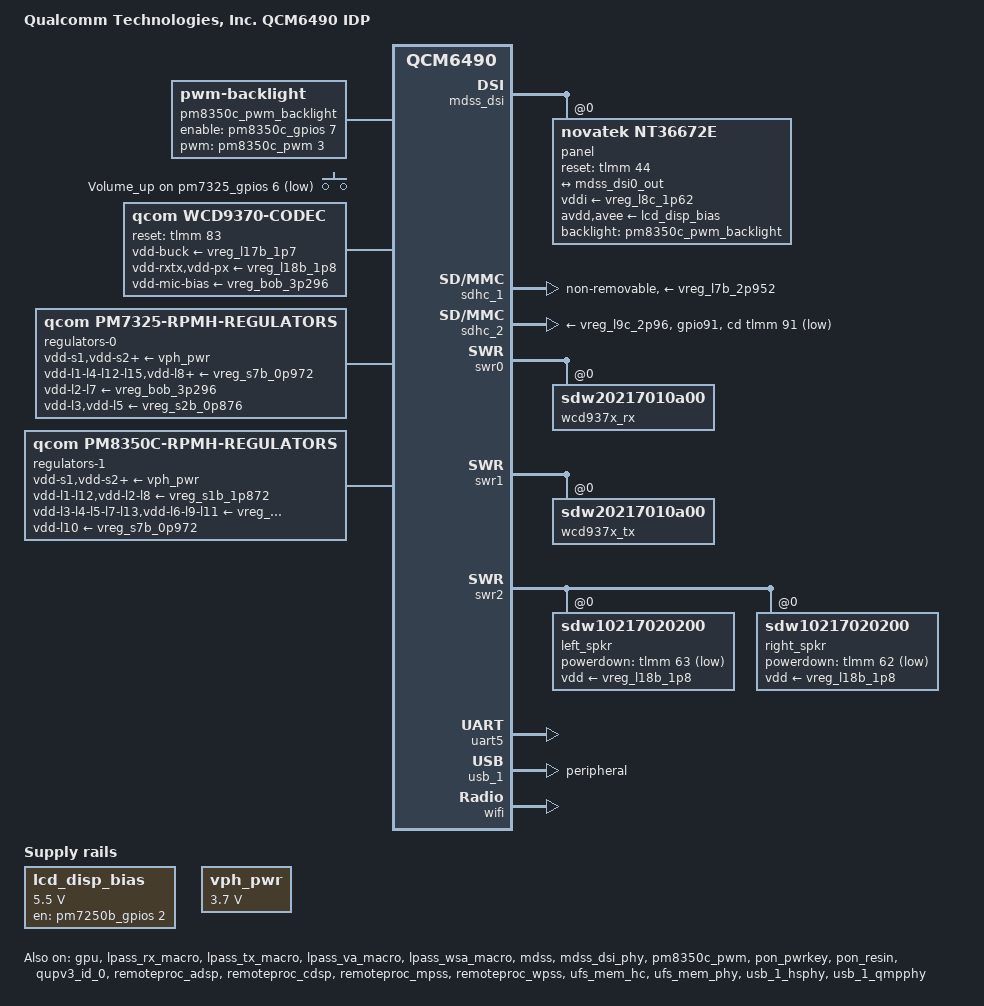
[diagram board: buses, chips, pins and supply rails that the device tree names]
// SPDX-License-Identifier: BSD-3-Clause
/*
 * Copyright (c) 2023 Qualcomm Innovation Center, Inc. All rights reserved.
 */

/dts-v1/;

/* PM7250B is configured to use SID8/9 */
#define PM7250B_SID 8
#define PM7250B_SID1 9

#include <dt-bindings/input/linux-event-codes.h>
#include <dt-bindings/leds/common.h>
#include <dt-bindings/pinctrl/qcom,pmic-gpio.h>
#include <dt-bindings/regulator/qcom,rpmh-regulator.h>
#include "sc7280.dtsi"
#include "pm7250b.dtsi"
#include "pm7325.dtsi"
#include "pm8350c.dtsi"
#include "pmk8350.dtsi"
#include "qcs6490-audioreach.dtsi"

/delete-node/ &ipa_fw_mem;
/delete-node/ &rmtfs_mem;
/delete-node/ &adsp_mem;
/delete-node/ &cdsp_mem;
/delete-node/ &video_mem;
/delete-node/ &wlan_ce_mem;
/delete-node/ &wpss_mem;
/delete-node/ &xbl_mem;

/ {
	model = "Qualcomm Technologies, Inc. QCM6490 IDP";
	compatible = "qcom,qcm6490-idp", "qcom,qcm6490";
	chassis-type = "embedded";

	aliases {
		serial0 = &uart5;
	};

	pm8350c_pwm_backlight: backlight {
		compatible = "pwm-backlight";
		pwms = <&pm8350c_pwm 3 65535>;
		enable-gpios = <&pm8350c_gpios 7 GPIO_ACTIVE_HIGH>;
		pinctrl-0 = <&pmic_lcd_bl_en>;
		pinctrl-names = "default";
	};

	chosen {
		stdout-path = "serial0:115200n8";
	};

	lcd_disp_bias: regulator-lcd-disp-bias {
		compatible = "regulator-fixed";
		regulator-name = "lcd_disp_bias";
		regulator-min-microvolt = <5500000>;
		regulator-max-microvolt = <5500000>;
		gpio = <&pm7250b_gpios 2 GPIO_ACTIVE_HIGH>;
		enable-active-high;
		pinctrl-0 = <&lcd_disp_bias_en>;
		pinctrl-names = "default";
	};

	gpio-keys {
		compatible = "gpio-keys";

		pinctrl-0 = <&key_vol_up_default>;
		pinctrl-names = "default";

		key-volume-up {
			label = "Volume_up";
			gpios = <&pm7325_gpios 6 GPIO_ACTIVE_LOW>;
			linux,code = <KEY_VOLUMEUP>;
			wakeup-source;
			debounce-interval = <15>;
			linux,can-disable;
		};
	};

	reserved-memory {
		xbl_mem: xbl@80700000 {
			reg = <0x0 0x80700000 0x0 0x100000>;
			no-map;
		};

		cdsp_secure_heap_mem: cdsp-secure-heap@81800000 {
			reg = <0x0 0x81800000 0x0 0x1e00000>;
			no-map;
		};

		camera_mem: camera@84300000 {
			reg = <0x0 0x84300000 0x0 0x500000>;
			no-map;
		};

		wpss_mem: wpss@84800000 {
			reg = <0x0 0x84800000 0x0 0x1900000>;
			no-map;
		};

		adsp_mem: adsp@86100000 {
			reg = <0x0 0x86100000 0x0 0x2800000>;
			no-map;
		};

		cdsp_mem: cdsp@88900000 {
			reg = <0x0 0x88900000 0x0 0x1e00000>;
			no-map;
		};

		video_mem: video@8a700000 {
			reg = <0x0 0x8a700000 0x0 0x700000>;
			no-map;
		};

		cvp_mem: cvp@8ae00000 {
			reg = <0x0 0x8ae00000 0x0 0x500000>;
			no-map;
		};

		ipa_fw_mem: ipa-fw@8b300000 {
			reg = <0x0 0x8b300000 0x0 0x10000>;
			no-map;
		};

		ipa_gsi_mem: ipa-gsi@8b310000 {
			reg = <0x0 0x8b310000 0x0 0xa000>;
			no-map;
		};

		gpu_microcode_mem: gpu-microcode@8b31a000 {
			reg = <0x0 0x8b31a000 0x0 0x2000>;
			no-map;
		};

		mpss_mem: mpss@8b800000 {
			reg = <0x0 0x8b800000 0x0 0xf600000>;
			no-map;
		};

		tz_stat_mem: tz-stat@c0000000 {
			reg = <0x0 0xc0000000 0x0 0x100000>;
			no-map;
		};

		tags_mem: tags@c0100000 {
			reg = <0x0 0xc0100000 0x0 0x1200000>;
			no-map;
		};

		qtee_mem: qtee@c1300000 {
			reg = <0x0 0xc1300000 0x0 0x500000>;
			no-map;
		};

		trusted_apps_mem: trusted-apps@c1800000 {
			reg = <0x0 0xc1800000 0x0 0x1c00000>;
			no-map;
		};

		debug_vm_mem: debug-vm@d0600000 {
			reg = <0x0 0xd0600000 0x0 0x100000>;
			no-map;
		};
	};

	vph_pwr: vph-pwr-regulator {
		compatible = "regulator-fixed";
		regulator-name = "vph_pwr";
		regulator-min-microvolt = <3700000>;
		regulator-max-microvolt = <3700000>;
	};

	wcd9370: audio-codec-0 {
		compatible = "qcom,wcd9370-codec";

		pinctrl-0 = <&wcd_default>;
		pinctrl-names = "default";

		reset-gpios = <&tlmm 83 GPIO_ACTIVE_HIGH>;

		vdd-buck-supply = <&vreg_l17b_1p7>;
		vdd-rxtx-supply = <&vreg_l18b_1p8>;
		vdd-px-supply = <&vreg_l18b_1p8>;
		vdd-mic-bias-supply = <&vreg_bob_3p296>;

		qcom,micbias1-microvolt = <1800000>;
		qcom,micbias2-microvolt = <1800000>;
		qcom,micbias3-microvolt = <1800000>;
		qcom,micbias4-microvolt = <1800000>;

		qcom,rx-device = <&wcd937x_rx>;
		qcom,tx-device = <&wcd937x_tx>;

		#sound-dai-cells = <1>;
	};
};

&apps_rsc {
	regulators-0 {
		compatible = "qcom,pm7325-rpmh-regulators";
		qcom,pmic-id = "b";

		vdd-s1-supply = <&vph_pwr>;
		vdd-s2-supply = <&vph_pwr>;
		vdd-s3-supply = <&vph_pwr>;
		vdd-s4-supply = <&vph_pwr>;
		vdd-s5-supply = <&vph_pwr>;
		vdd-s6-supply = <&vph_pwr>;
		vdd-s7-supply = <&vph_pwr>;
		vdd-s8-supply = <&vph_pwr>;
		vdd-l1-l4-l12-l15-supply = <&vreg_s7b_0p972>;
		vdd-l2-l7-supply = <&vreg_bob_3p296>;
		vdd-l3-supply = <&vreg_s2b_0p876>;
		vdd-l5-supply = <&vreg_s2b_0p876>;
		vdd-l6-l9-l10-supply = <&vreg_s8b_1p272>;
		vdd-l8-supply = <&vreg_s7b_0p972>;
		vdd-l11-l17-l18-l19-supply = <&vreg_s1b_1p872>;
		vdd-l13-supply = <&vreg_s7b_0p972>;
		vdd-l14-l16-supply = <&vreg_s8b_1p272>;

		vreg_s1b_1p872: smps1 {
			regulator-name = "vreg_s1b_1p872";
			regulator-min-microvolt = <1840000>;
			regulator-max-microvolt = <2040000>;
		};

		vreg_s2b_0p876: smps2 {
			regulator-name = "vreg_s2b_0p876";
			regulator-min-microvolt = <570070>;
			regulator-max-microvolt = <1050000>;
		};

		vreg_s7b_0p972: smps7 {
			regulator-name = "vreg_s7b_0p972";
			regulator-min-microvolt = <535000>;
			regulator-max-microvolt = <1120000>;
		};

		vreg_s8b_1p272: smps8 {
			regulator-name = "vreg_s8b_1p272";
			regulator-min-microvolt = <1200000>;
			regulator-max-microvolt = <1500000>;
			regulator-initial-mode = <RPMH_REGULATOR_MODE_RET>;
		};

		vreg_l1b_0p912: ldo1 {
			regulator-name = "vreg_l1b_0p912";
			regulator-min-microvolt = <825000>;
			regulator-max-microvolt = <925000>;
			regulator-initial-mode = <RPMH_REGULATOR_MODE_HPM>;
		};

		vreg_l2b_3p072: ldo2 {
			regulator-name = "vreg_l2b_3p072";
			regulator-min-microvolt = <2700000>;
			regulator-max-microvolt = <3544000>;
			regulator-initial-mode = <RPMH_REGULATOR_MODE_HPM>;
		};

		vreg_l3b_0p504: ldo3 {
			regulator-name = "vreg_l3b_0p504";
			regulator-min-microvolt = <312000>;
			regulator-max-microvolt = <910000>;
			regulator-initial-mode = <RPMH_REGULATOR_MODE_HPM>;
		};

		vreg_l4b_0p752: ldo4 {
			regulator-name = "vreg_l4b_0p752";
			regulator-min-microvolt = <752000>;
			regulator-max-microvolt = <820000>;
			regulator-initial-mode = <RPMH_REGULATOR_MODE_HPM>;
		};

		reg_l5b_0p752: ldo5 {
			regulator-name = "reg_l5b_0p752";
			regulator-min-microvolt = <552000>;
			regulator-max-microvolt = <832000>;
			regulator-initial-mode = <RPMH_REGULATOR_MODE_HPM>;
		};

		vreg_l6b_1p2: ldo6 {
			regulator-name = "vreg_l6b_1p2";
			regulator-min-microvolt = <1140000>;
			regulator-max-microvolt = <1260000>;
			regulator-allow-set-load;
			regulator-allowed-modes = <RPMH_REGULATOR_MODE_LPM RPMH_REGULATOR_MODE_HPM>;
			regulator-initial-mode = <RPMH_REGULATOR_MODE_HPM>;
		};

		vreg_l7b_2p952: ldo7 {
			regulator-name = "vreg_l7b_2p952";
			regulator-min-microvolt = <2400000>;
			regulator-max-microvolt = <3544000>;
			regulator-allow-set-load;
			regulator-allowed-modes = <RPMH_REGULATOR_MODE_LPM RPMH_REGULATOR_MODE_HPM>;
			regulator-initial-mode = <RPMH_REGULATOR_MODE_HPM>;
		};

		vreg_l8b_0p904: ldo8 {
			regulator-name = "vreg_l8b_0p904";
			regulator-min-microvolt = <870000>;
			regulator-max-microvolt = <970000>;
			regulator-initial-mode = <RPMH_REGULATOR_MODE_HPM>;
		};

		vreg_l9b_1p2: ldo9 {
			regulator-name = "vreg_l9b_1p2";
			regulator-min-microvolt = <1200000>;
			regulator-max-microvolt = <1304000>;
			regulator-allow-set-load;
			regulator-allowed-modes = <RPMH_REGULATOR_MODE_LPM RPMH_REGULATOR_MODE_HPM>;
			regulator-initial-mode = <RPMH_REGULATOR_MODE_HPM>;
		};

		vreg_l11b_1p504: ldo11 {
			regulator-name = "vreg_l11b_1p504";
			regulator-min-microvolt = <1504000>;
			regulator-max-microvolt = <2000000>;
			regulator-initial-mode = <RPMH_REGULATOR_MODE_HPM>;
		};

		vreg_l12b_0p751: ldo12 {
			regulator-name = "vreg_l12b_0p751";
			regulator-min-microvolt = <751000>;
			regulator-max-microvolt = <824000>;
			regulator-initial-mode = <RPMH_REGULATOR_MODE_HPM>;
		};

		vreg_l13b_0p53: ldo13 {
			regulator-name = "vreg_l13b_0p53";
			regulator-min-microvolt = <530000>;
			regulator-max-microvolt = <824000>;
			regulator-initial-mode = <RPMH_REGULATOR_MODE_HPM>;
		};

		vreg_l14b_1p08: ldo14 {
			regulator-name = "vreg_l14b_1p08";
			regulator-min-microvolt = <1080000>;
			regulator-max-microvolt = <1304000>;
			regulator-initial-mode = <RPMH_REGULATOR_MODE_HPM>;
		};

		vreg_l15b_0p765: ldo15 {
			regulator-name = "vreg_l15b_0p765";
			regulator-min-microvolt = <765000>;
			regulator-max-microvolt = <1020000>;
			regulator-initial-mode = <RPMH_REGULATOR_MODE_HPM>;
		};

		vreg_l16b_1p1: ldo16 {
			regulator-name = "vreg_l16b_1p1";
			regulator-min-microvolt = <1100000>;
			regulator-max-microvolt = <1300000>;
			regulator-initial-mode = <RPMH_REGULATOR_MODE_HPM>;
		};

		vreg_l17b_1p7: ldo17 {
			regulator-name = "vreg_l17b_1p7";
			regulator-min-microvolt = <1700000>;
			regulator-max-microvolt = <1900000>;
			regulator-initial-mode = <RPMH_REGULATOR_MODE_HPM>;
		};

		vreg_l18b_1p8: ldo18 {
			regulator-name = "vreg_l18b_1p8";
			regulator-min-microvolt = <1800000>;
			regulator-max-microvolt = <2000000>;
			regulator-initial-mode = <RPMH_REGULATOR_MODE_HPM>;
		};

		vreg_l19b_1p8: ldo19 {
			regulator-name = "vreg_l19b_1p8";
			regulator-min-microvolt = <1800000>;
			regulator-max-microvolt = <2000000>;
			regulator-initial-mode = <RPMH_REGULATOR_MODE_HPM>;
			regulator-allow-set-load;
			regulator-allowed-modes = <RPMH_REGULATOR_MODE_LPM
						   RPMH_REGULATOR_MODE_HPM>;
		};
	};

	regulators-1 {
		compatible = "qcom,pm8350c-rpmh-regulators";
		qcom,pmic-id = "c";

		vdd-s1-supply = <&vph_pwr>;
		vdd-s2-supply = <&vph_pwr>;
		vdd-s3-supply = <&vph_pwr>;
		vdd-s4-supply = <&vph_pwr>;
		vdd-s5-supply = <&vph_pwr>;
		vdd-s6-supply = <&vph_pwr>;
		vdd-s7-supply = <&vph_pwr>;
		vdd-s8-supply = <&vph_pwr>;
		vdd-s9-supply = <&vph_pwr>;
		vdd-s10-supply = <&vph_pwr>;
		vdd-l1-l12-supply = <&vreg_s1b_1p872>;
		vdd-l2-l8-supply = <&vreg_s1b_1p872>;
		vdd-l3-l4-l5-l7-l13-supply = <&vreg_bob_3p296>;
		vdd-l6-l9-l11-supply = <&vreg_bob_3p296>;
		vdd-l10-supply = <&vreg_s7b_0p972>;
		vdd-bob-supply = <&vph_pwr>;

		vreg_s1c_2p19: smps1 {
			regulator-name = "vreg_s1c_2p19";
			regulator-min-microvolt = <2190000>;
			regulator-max-microvolt = <2210000>;
		};

		vreg_s2c_0p752: smps2 {
			regulator-name = "vreg_s2c_0p752";
			regulator-min-microvolt = <750000>;
			regulator-max-microvolt = <800000>;
		};

		vreg_s5c_0p752: smps5 {
			regulator-name = "vreg_s5c_0p752";
			regulator-min-microvolt = <465000>;
			regulator-max-microvolt = <1050000>;
		};

		vreg_s7c_0p752: smps7 {
			regulator-name = "vreg_s7c_0p752";
			regulator-min-microvolt = <465000>;
			regulator-max-microvolt = <800000>;
		};

		vreg_s9c_1p084: smps9 {
			regulator-name = "vreg_s9c_1p084";
			regulator-min-microvolt = <1010000>;
			regulator-max-microvolt = <1170000>;
		};

		vreg_l1c_1p8: ldo1 {
			regulator-name = "vreg_l1c_1p8";
			regulator-min-microvolt = <1800000>;
			regulator-max-microvolt = <1980000>;
			regulator-initial-mode = <RPMH_REGULATOR_MODE_HPM>;
		};

		vreg_l2c_1p62: ldo2 {
			regulator-name = "vreg_l2c_1p62";
			regulator-min-microvolt = <1620000>;
			regulator-max-microvolt = <1980000>;
			regulator-initial-mode = <RPMH_REGULATOR_MODE_HPM>;
		};

		vreg_l3c_2p8: ldo3 {
			regulator-name = "vreg_l3c_2p8";
			regulator-min-microvolt = <2800000>;
			regulator-max-microvolt = <3540000>;
			regulator-initial-mode = <RPMH_REGULATOR_MODE_HPM>;
		};

		vreg_l4c_1p62: ldo4 {
			regulator-name = "vreg_l4c_1p62";
			regulator-min-microvolt = <1620000>;
			regulator-max-microvolt = <3300000>;
			regulator-initial-mode = <RPMH_REGULATOR_MODE_HPM>;
		};

		vreg_l5c_1p62: ldo5 {
			regulator-name = "vreg_l5c_1p62";
			regulator-min-microvolt = <1620000>;
			regulator-max-microvolt = <3300000>;
			regulator-initial-mode = <RPMH_REGULATOR_MODE_HPM>;
		};

		vreg_l6c_2p96: ldo6 {
			regulator-name = "vreg_l6c_2p96";
			regulator-min-microvolt = <1650000>;
			regulator-max-microvolt = <3544000>;
			regulator-initial-mode = <RPMH_REGULATOR_MODE_HPM>;
		};

		vreg_l7c_3p0: ldo7 {
			regulator-name = "vreg_l7c_3p0";
			regulator-min-microvolt = <3000000>;
			regulator-max-microvolt = <3544000>;
			regulator-initial-mode = <RPMH_REGULATOR_MODE_HPM>;
		};

		vreg_l8c_1p62: ldo8 {
			regulator-name = "vreg_l8c_1p62";
			regulator-min-microvolt = <1620000>;
			regulator-max-microvolt = <2000000>;
			regulator-initial-mode = <RPMH_REGULATOR_MODE_HPM>;
		};

		vreg_l9c_2p96: ldo9 {
			regulator-name = "vreg_l9c_2p96";
			regulator-min-microvolt = <2700000>;
			regulator-max-microvolt = <35440000>;
			regulator-initial-mode = <RPMH_REGULATOR_MODE_HPM>;
		};

		vreg_l10c_0p88: ldo10 {
			regulator-name = "vreg_l10c_0p88";
			regulator-min-microvolt = <720000>;
			regulator-max-microvolt = <1050000>;
			regulator-allow-set-load;
			regulator-allowed-modes = <RPMH_REGULATOR_MODE_LPM RPMH_REGULATOR_MODE_HPM>;
			regulator-initial-mode = <RPMH_REGULATOR_MODE_HPM>;
		};

		vreg_l11c_2p8: ldo11 {
			regulator-name = "vreg_l11c_2p8";
			regulator-min-microvolt = <2800000>;
			regulator-max-microvolt = <3544000>;
			regulator-initial-mode = <RPMH_REGULATOR_MODE_HPM>;
		};

		vreg_l12c_1p65: ldo12 {
			regulator-name = "vreg_l12c_1p65";
			regulator-min-microvolt = <1650000>;
			regulator-max-microvolt = <2000000>;
			regulator-initial-mode = <RPMH_REGULATOR_MODE_HPM>;
		};

		vreg_l13c_2p7: ldo13 {
			regulator-name = "vreg_l13c_2p7";
			regulator-min-microvolt = <2700000>;
			regulator-max-microvolt = <3544000>;
			regulator-initial-mode = <RPMH_REGULATOR_MODE_HPM>;
		};

		vreg_bob_3p296: bob {
			regulator-name = "vreg_bob_3p296";
			regulator-min-microvolt = <3008000>;
			regulator-max-microvolt = <3960000>;
		};
	};
};

&gcc {
	protected-clocks = <GCC_AGGRE_NOC_PCIE_1_AXI_CLK> ,<GCC_PCIE_1_AUX_CLK>,
			   <GCC_PCIE_1_AUX_CLK_SRC>, <GCC_PCIE_1_CFG_AHB_CLK>,
			   <GCC_PCIE_1_MSTR_AXI_CLK>, <GCC_PCIE_1_PHY_RCHNG_CLK_SRC>,
			   <GCC_PCIE_1_PIPE_CLK>, <GCC_PCIE_1_PIPE_CLK_SRC>,
			   <GCC_PCIE_1_SLV_AXI_CLK>, <GCC_PCIE_1_SLV_Q2A_AXI_CLK>,
			   <GCC_QSPI_CNOC_PERIPH_AHB_CLK>, <GCC_QSPI_CORE_CLK>,
			   <GCC_QSPI_CORE_CLK_SRC>,<GCC_USB30_SEC_MASTER_CLK>,
			   <GCC_USB30_SEC_MASTER_CLK_SRC>, <GCC_USB30_SEC_MOCK_UTMI_CLK>,
			   <GCC_USB30_SEC_MOCK_UTMI_CLK_SRC>,
			   <GCC_USB30_SEC_MOCK_UTMI_POSTDIV_CLK_SRC>, <GCC_USB30_SEC_SLEEP_CLK>,
			   <GCC_USB3_SEC_PHY_AUX_CLK>, <GCC_USB3_SEC_PHY_AUX_CLK_SRC>,
			   <GCC_USB3_SEC_PHY_COM_AUX_CLK>, <GCC_USB3_SEC_PHY_PIPE_CLK>,
			   <GCC_USB3_SEC_PHY_PIPE_CLK_SRC>, <GCC_CFG_NOC_LPASS_CLK>,
			   <GCC_MSS_GPLL0_MAIN_DIV_CLK_SRC>, <GCC_MSS_CFG_AHB_CLK>,
			   <GCC_MSS_OFFLINE_AXI_CLK>, <GCC_MSS_SNOC_AXI_CLK>,
			   <GCC_MSS_Q6_MEMNOC_AXI_CLK>, <GCC_MSS_Q6SS_BOOT_CLK_SRC>,
			   <GCC_SEC_CTRL_CLK_SRC>, <GCC_WPSS_AHB_CLK>,
			   <GCC_WPSS_AHB_BDG_MST_CLK>, <GCC_WPSS_RSCP_CLK>;
};

&gpu {
	status = "okay";
};

&gpu_zap_shader {
	firmware-name = "qcom/qcm6490/a660_zap.mbn";
};

&lpass_rx_macro {
	status = "okay";
};

&lpass_tx_macro {
	status = "okay";
};

&lpass_va_macro {
	status = "okay";
};

&lpass_wsa_macro {
	status = "okay";
};

&mdss {
	status = "okay";
};

&mdss_dsi {
	vdda-supply = <&vreg_l6b_1p2>;
	status = "okay";

	panel@0 {
		compatible = "novatek,nt36672e";
		reg = <0>;

		reset-gpios = <&tlmm 44 GPIO_ACTIVE_HIGH>;

		vddi-supply = <&vreg_l8c_1p62>;
		avdd-supply = <&lcd_disp_bias>;
		avee-supply = <&lcd_disp_bias>;

		backlight = <&pm8350c_pwm_backlight>;

		port {
			panel0_in: endpoint {
				remote-endpoint = <&mdss_dsi0_out>;
			};
		};
	};
};

&mdss_dsi0_out {
	remote-endpoint = <&panel0_in>;
	data-lanes = <0 1 2 3>;
};

&mdss_dsi_phy {
	vdds-supply = <&vreg_l10c_0p88>;
	status = "okay";
};

&pm7250b_gpios {
	lcd_disp_bias_en: lcd-disp-bias-en-state {
		pins = "gpio2";
		function = "func1";
		bias-disable;
		qcom,drive-strength = <PMIC_GPIO_STRENGTH_LOW>;
		input-disable;
		output-enable;
		power-source = <0>;
	};
};

&pm8350c_gpios {
	pmic_lcd_bl_en: pmic-lcd-bl-en-state {
		pins = "gpio7";
		function = "normal";
		bias-disable;
		qcom,drive-strength = <PMIC_GPIO_STRENGTH_LOW>;
		output-low;
		power-source = <0>;
	};

	pmic_lcd_bl_pwm: pmic-lcd-bl-pwm-state {
		pins = "gpio8";
		function = "func1";
		bias-disable;
		qcom,drive-strength = <PMIC_GPIO_STRENGTH_LOW>;
		output-low;
		power-source = <0>;
	};
};

&pm7325_gpios {
	key_vol_up_default: key-vol-up-state {
		pins = "gpio6";
		function = "normal";
		input-enable;
		bias-pull-up;
		qcom,drive-strength = <PMIC_GPIO_STRENGTH_LOW>;
	};
};

&pm8350c_pwm {
	pinctrl-0 = <&pmic_lcd_bl_pwm>;
	pinctrl-names = "default";
	status = "okay";

	multi-led {
		color = <LED_COLOR_ID_RGB>;
		function = LED_FUNCTION_STATUS;

		#address-cells = <1>;
		#size-cells = <0>;

		led@1 {
			reg = <1>;
			color = <LED_COLOR_ID_RED>;
		};

		led@2 {
			reg = <2>;
			color = <LED_COLOR_ID_GREEN>;
		};

		led@3 {
			reg = <3>;
			color = <LED_COLOR_ID_BLUE>;
		};
	};
};

&pon_pwrkey {
	status = "okay";
};

&pon_resin {
	linux,code = <KEY_VOLUMEDOWN>;
	status = "okay";
};

&qupv3_id_0 {
	status = "okay";
};

&remoteproc_adsp {
	firmware-name = "qcom/qcm6490/adsp.mbn";
	status = "okay";
};

&remoteproc_cdsp {
	firmware-name = "qcom/qcm6490/cdsp.mbn";
	status = "okay";
};

&remoteproc_mpss {
	firmware-name = "qcom/qcm6490/modem.mbn";
	status = "okay";
};

&remoteproc_wpss {
	firmware-name = "qcom/qcm6490/wpss.mbn";
	status = "okay";
};

&sdc2_clk {
	bias-disable;
	drive-strength = <16>;
};

&sdc2_cmd {
	bias-pull-up;
	drive-strength = <10>;
};

&sdc2_data {
	bias-pull-up;
	drive-strength = <10>;
};

&sdhc_1 {
	non-removable;
	no-sd;
	no-sdio;

	vmmc-supply = <&vreg_l7b_2p952>;
	vqmmc-supply = <&vreg_l19b_1p8>;

	status = "okay";
};

&sdhc_2 {
	status = "okay";

	pinctrl-0 = <&sdc2_clk>, <&sdc2_cmd>, <&sdc2_data>, <&sd_cd>;
	pinctrl-1 = <&sdc2_clk_sleep>, <&sdc2_cmd_sleep>, <&sdc2_data_sleep>, <&sd_cd>;

	vmmc-supply = <&vreg_l9c_2p96>;
	vqmmc-supply = <&vreg_l6c_2p96>;

	cd-gpios = <&tlmm 91 GPIO_ACTIVE_LOW>;
};

&sound {
	compatible = "qcom,qcm6490-idp-sndcard";
	model = "QCM6490-IDP";

	audio-routing = "SpkrLeft IN", "WSA_SPK1 OUT",
			"SpkrRight IN", "WSA_SPK2 OUT",
			"IN1_HPHL", "HPHL_OUT",
			"IN2_HPHR", "HPHR_OUT",
			"AMIC2", "MIC BIAS2",
			"TX DMIC0", "MIC BIAS1",
			"TX DMIC1", "MIC BIAS2",
			"TX DMIC2", "MIC BIAS3",
			"TX SWR_ADC1", "ADC2_OUTPUT",
			"VA DMIC0", "VA MIC BIAS3",
			"VA DMIC1", "VA MIC BIAS3",
			"VA DMIC2", "VA MIC BIAS1",
			"VA DMIC3", "VA MIC BIAS1";

	wsa-dai-link {
		link-name = "WSA Playback";

		codec {
			sound-dai = <&left_spkr>, <&right_spkr>,
				    <&swr2 0>, <&lpass_wsa_macro 0>;
		};

		cpu {
			sound-dai = <&q6apmbedai WSA_CODEC_DMA_RX_0>;
		};

		platform {
			sound-dai = <&q6apm>;
		};
	};

	wcd-playback-dai-link {
		link-name = "WCD Playback";

		codec {
			sound-dai = <&wcd9370 0>, <&swr0 0>, <&lpass_rx_macro 0>;
		};

		cpu {
			sound-dai = <&q6apmbedai RX_CODEC_DMA_RX_0>;
		};

		platform {
			sound-dai = <&q6apm>;
		};
	};

	wcd-capture-dai-link {
		link-name = "WCD Capture";

		codec {
			sound-dai = <&wcd9370 1>, <&swr1 0>, <&lpass_tx_macro 0>;
		};

		cpu {
			sound-dai = <&q6apmbedai TX_CODEC_DMA_TX_3>;
		};

		platform {
			sound-dai = <&q6apm>;
		};
	};

	va-dai-link {
		link-name = "VA Capture";

		codec {
			sound-dai = <&lpass_va_macro 0>;
		};

		cpu {
			sound-dai = <&q6apmbedai VA_CODEC_DMA_TX_0>;
		};

		platform {
			sound-dai = <&q6apm>;
		};
	};
};

&swr0 {
	status = "okay";

	wcd937x_rx: codec@0,4 {
		compatible = "sdw20217010a00";
		reg = <0 4>;

		/*
		 * WCD9370 RX Port 1 (HPH_L/R)       <==>    SWR1 Port 1 (HPH_L/R)
		 * WCD9370 RX Port 2 (CLSH)          <==>    SWR1 Port 2 (CLSH)
		 * WCD9370 RX Port 3 (COMP_L/R)      <==>    SWR1 Port 3 (COMP_L/R)
		 * WCD9370 RX Port 4 (LO)            <==>    SWR1 Port 4 (LO)
		 * WCD9370 RX Port 5 (DSD_L/R)       <==>    SWR1 Port 5 (DSD)
		 */
		qcom,rx-port-mapping = <1 2 3 4 5>;

		/*
		 * Static channels mapping between slave and master rx port channels.
		 * In the order of slave port channels, which is
		 * hph_l, hph_r, clsh, comp_l, comp_r, lo, dsd_r, dsd_l.
		 */
		qcom,rx-channel-mapping = /bits/ 8 <1 2 1 1 2 1 1 2>;
	};
};

&swr1 {
	status = "okay";

	wcd937x_tx: codec@0,3 {
		compatible = "sdw20217010a00";
		reg = <0 3>;

		/*
		 * WCD9370 TX Port 1 (ADC1)               <=> SWR2 Port 2
		 * WCD9370 TX Port 2 (ADC2, 3)            <=> SWR2 Port 2
		 * WCD9370 TX Port 3 (DMIC0,1,2,3 & MBHC) <=> SWR2 Port 3
		 * WCD9370 TX Port 4 (DMIC4,5,6,7)        <=> SWR2 Port 4
		 */
		qcom,tx-port-mapping = <1 1 2 3>;

		/*
		 * Static channel mapping between slave and master tx port channels.
		 * In the order of slave port channels which is adc1, adc2, adc3,
		 * mic0, dmic1, mbhc, dmic2, dmic3, dmci4, dmic5, dmic6, dmic7.
		 */
		qcom,tx-channel-mapping = /bits/ 8 <1 2 1 1 2 3 3 4 1 2 3 4>;
	};
};

&swr2 {
	status = "okay";

	left_spkr: speaker@0,1 {
		compatible = "sdw10217020200";
		reg = <0 1>;
		powerdown-gpios = <&tlmm 63 GPIO_ACTIVE_LOW>;
		#sound-dai-cells = <0>;
		sound-name-prefix = "SpkrLeft";
		#thermal-sensor-cells = <0>;
		vdd-supply = <&vreg_l18b_1p8>;
		qcom,port-mapping = <1 2 3 7>;
	};

	right_spkr: speaker@0,2 {
		compatible = "sdw10217020200";
		reg = <0 2>;
		powerdown-gpios = <&tlmm 62 GPIO_ACTIVE_LOW>;
		#sound-dai-cells = <0>;
		sound-name-prefix = "SpkrRight";
		#thermal-sensor-cells = <0>;
		vdd-supply = <&vreg_l18b_1p8>;
		qcom,port-mapping = <4 5 6 8>;
	};
};

&tlmm {
	gpio-reserved-ranges = <32 2>, /* ADSP */
			       <48 4>; /* NFC */

	sd_cd: sd-cd-state {
		pins = "gpio91";
		function = "gpio";
		bias-pull-up;
	};

	wcd_default: wcd-reset-n-active-state {
		pins = "gpio83";
		function = "gpio";
		drive-strength = <16>;
		bias-disable;
	};
};

&uart5 {
	status = "okay";
};

&ufs_mem_hc {
	reset-gpios = <&tlmm 175 GPIO_ACTIVE_LOW>;
	vcc-supply = <&vreg_l7b_2p952>;
	vcc-max-microamp = <800000>;
	vccq-supply = <&vreg_l9b_1p2>;
	vccq-max-microamp = <900000>;
	vccq2-supply = <&vreg_l9b_1p2>;
	vccq2-max-microamp = <900000>;

	status = "okay";
};

&ufs_mem_phy {
	vdda-phy-supply = <&vreg_l10c_0p88>;
	vdda-pll-supply = <&vreg_l6b_1p2>;

	status = "okay";
};

&usb_1 {
	dr_mode = "peripheral";

	status = "okay";
};

&usb_1_hsphy {
	vdda-pll-supply = <&vreg_l10c_0p88>;
	vdda33-supply = <&vreg_l2b_3p072>;
	vdda18-supply = <&vreg_l1c_1p8>;

	status = "okay";
};

&usb_1_qmpphy {
	vdda-phy-supply = <&vreg_l6b_1p2>;
	vdda-pll-supply = <&vreg_l1b_0p912>;

	status = "okay";
};

&wifi {
	memory-region = <&wlan_fw_mem>;
	qcom,calibration-variant = "Qualcomm_qcm6490idp";

	status = "okay";
};

&lpass_audiocc {
	compatible = "qcom,qcm6490-lpassaudiocc";
	/delete-property/ power-domains;
};
